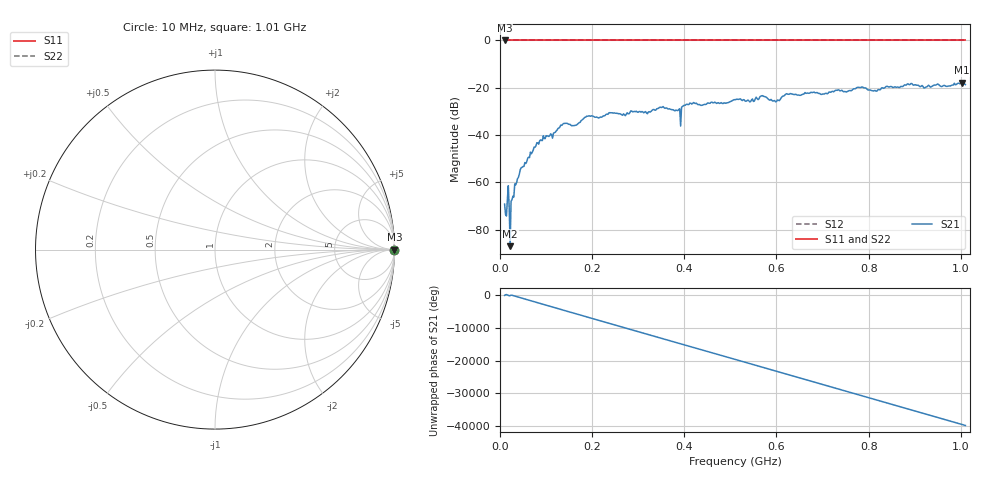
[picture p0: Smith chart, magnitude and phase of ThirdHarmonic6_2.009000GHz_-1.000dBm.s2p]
! 8/17/2025 12:07:50 AM
! C:\ANRITSUVNA\TEMP\TEMP.S2P
! CHANNEL.1
! TR.MEASUREMENT
! RAW.DATA
! RF.CORRECTION.OFF
! AVERAGING.OFF
! IF.BANDWIDTH: 5KHZ
! SWEEPTYPE:  FREQ.SWEEP(Linear)
! Reference Plane Port Info
! PORT:  PORT1  PORT2
! DISTANCE:  0  m  0  m
! TIME:  0  s  0  s
! PHASE.OFFSET:  0  deg.  0  deg.
! LOSS:  0  dB  0  dB
! REF.LOSS:  0  dB  0  dB
! REF.FREQ:  0  Hz  0  Hz
! Power Info
! POWER:  -20  dBm  -20  dBm
! EFF.POWER:  -20  dBm  -20  dBm
! SOURCE.ATTEN:  0  dB  0  dB
! TEST.ATTEN:  0  dB  0  dB
# GHZ S RI R 50.0
! FREQ.GHZ  S11RE  S11IM  S21RE  S21IM  S12RE  S12IM  S22RE  S22IM
!; PortSelection: Port_12
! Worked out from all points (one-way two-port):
!   501 points, 10 MHz to 1.01 GHz, reference 50 ohm
!   highest |S21| = -17.85 dB at 1.002 GHz (marker M1); lowest = -87.0 dB at 22 MHz (marker M2)
!   lowest |S11| = 0.0 dB at 10 MHz (marker M3)
!   |S11| at or under -10 dB: nowhere
!   |S22| runs from 0.0 to 0.0 dB; largest |S21 - S12| = 1.1
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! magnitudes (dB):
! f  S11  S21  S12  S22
! 10 MHz  0.0  -69.3  0.0  0.0
! 14 MHz  0.0  -74.3  0.0  0.0
! 18 MHz  0.0  -61.5  0.0  0.0
! 22 MHz  0.0  -87.0  0.0  0.0
! 26 MHz  0.0  -67.4  0.0  0.0
! 28 MHz  0.0  -65.9  0.0  0.0
! 46 MHz  0.0  -53.8  0.0  0.0
! 78 MHz  0.0  -44.6  0.0  0.0
! 136 MHz  0.0  -35.5  0.0  0.0
! 162 MHz  0.0  -36.0  0.0  0.0
! 178 MHz  0.0  -33.6  0.0  0.0
! 344 MHz  0.0  -28.7  0.0  0.0
! 388 MHz  0.0  -29.2  0.0  0.0
! 410 MHz  0.0  -27.1  0.0  0.0
! 510 MHz  0.0  -25.1  0.0  0.0
! 570 MHz  0.0  -23.4  0.0  0.0
! 596 MHz  0.0  -25.4  0.0  0.0
! 622 MHz  0.0  -22.5  0.0  0.0
! 678 MHz  0.0  -22.1  0.0  0.0
! 844 MHz  0.0  -19.7  0.0  0.0
! 1.002 GHz  0.0  -17.8  0.0  0.0
! 1.01 GHz  0.0  -18.7  0.0  0.0
